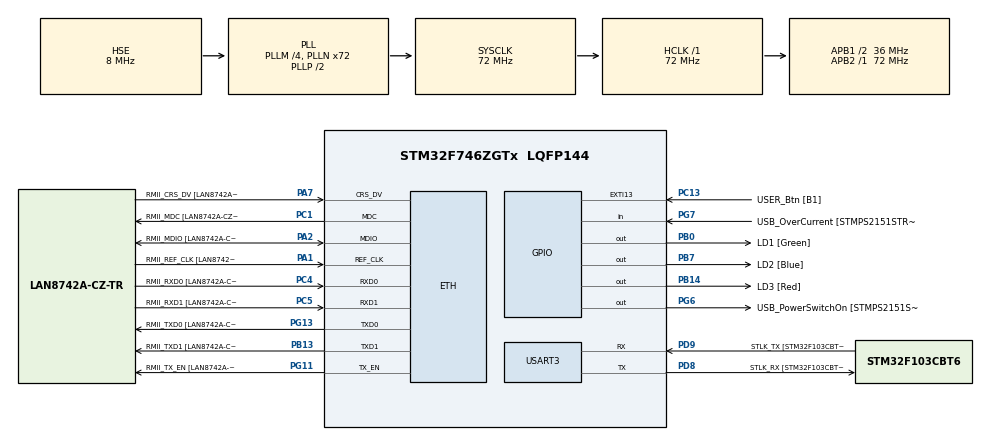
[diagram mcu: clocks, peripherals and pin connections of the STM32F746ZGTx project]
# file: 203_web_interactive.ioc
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ETH.MACAddr=00\:80\:E1\:00\:00\:00
ETH.MediaInterface=HAL_ETH_RMII_MODE
ETH.PHY_Name=LAN8742A_PHY_ADDRESS
ETH.PHY_Value=0
ETH.PhyAddress=0
FREERTOS.Tasks01=defaultTask,0,1024,StartDefaultTask,Default,NULL,Dynamic,NULL,NULL
FREERTOS.configUSE_NEWLIB_REENTRANT=1
LWIP.BSP.number=1
LWIP.GATEWAY_ADDRESS=010.042.000.001
LWIP.IP_ADDRESS=010.042.000.100
LWIP.LWIP_DHCP=1
LWIP.LWIP_HTTPD=1
LWIP.LWIP_HTTPD_CGI=1
LWIP.LWIP_HTTPD_SSI=1
LWIP.LWIP_HTTPD_SSI_INCLUDE_TAG=0
LWIP.LWIP_HTTPD_SSI_RAW=1
LWIP.NETMASK_ADDRESS=255.255.255.000
LWIP.Version=v2.1.2_Cube
LWIP0.BSP.STBoard=false
LWIP0.BSP.api=BSP_COMPONENT_DRIVER
LWIP0.BSP.component=LAN8742
LWIP0.BSP.instance=LAN8742
LWIP0.BSP.name=Driver_PHY
LWIP0.BSP.semaphore=S_LAN8742
LWIP0.BSP.solution=LAN8742
Mcu.Family=STM32F7
Mcu.Name=STM32F746ZGTx
Mcu.Package=LQFP144
NVIC.ETH_IRQn=true\:5\:0\:false\:false\:true\:true\:false\:true\:true
NVIC.PriorityGroup=NVIC_PRIORITYGROUP_4
NVIC.TIM2_IRQn=true\:15\:0\:false\:false\:true\:false\:false\:true\:true
NVIC.TimeBase=TIM2_IRQn
NVIC.TimeBaseIP=TIM2
PA1.GPIO_Label=RMII_REF_CLK [LAN8742A-CZ-TR_REFCLK0]
PA1.Mode=RMII
PA1.Signal=ETH_REF_CLK
PA10.GPIO_Label=USB_ID
PA10.Signal=USB_OTG_FS_ID
PA11.GPIO_Label=USB_DM
PA11.Signal=USB_OTG_FS_DM
PA12.GPIO_Label=USB_DP
PA12.Signal=USB_OTG_FS_DP
PA13.GPIO_Label=TMS
PA13.Mode=Serial_Wire
PA13.Signal=SYS_JTMS-SWDIO
PA14.GPIO_Label=TCK
PA14.Mode=Serial_Wire
PA14.Signal=SYS_JTCK-SWCLK
PA2.GPIO_Label=RMII_MDIO [LAN8742A-CZ-TR_MDIO]
PA2.Mode=RMII
PA2.Signal=ETH_MDIO
PA7.GPIO_Label=RMII_CRS_DV [LAN8742A-CZ-TR_CRS_DV]
PA7.Mode=RMII
PA7.Signal=ETH_CRS_DV
PA8.GPIO_Label=USB_SOF [TP1]
PA8.Signal=USB_OTG_FS_SOF
PA9.GPIO_Label=USB_VBUS
PA9.Signal=USB_OTG_FS_VBUS
PB0.GPIO_Label=LD1 [Green]
PB0.Signal=GPIO_Output
PB13.GPIO_Label=RMII_TXD1 [LAN8742A-CZ-TR_TXD1]
PB13.Mode=RMII
PB13.Signal=ETH_TXD1
PB14.GPIO_Label=LD3 [Red]
PB14.Signal=GPIO_Output
PB3.GPIO_Label=SW0
PB3.Signal=SYS_JTDO-SWO
PB7.GPIO_Label=LD2 [Blue]
PB7.Signal=GPIO_Output
PC1.GPIO_Label=RMII_MDC [LAN8742A-CZ-TR_MDC]
PC1.Mode=RMII
PC1.Signal=ETH_MDC
PC13.GPIO_Label=USER_Btn [B1]
PC13.Signal=GPXTI13
PC14/OSC32_IN.Mode=LSE-External-Oscillator
PC14/OSC32_IN.Signal=RCC_OSC32_IN
PC15/OSC32_OUT.Mode=LSE-External-Oscillator
PC15/OSC32_OUT.Signal=RCC_OSC32_OUT
PC4.GPIO_Label=RMII_RXD0 [LAN8742A-CZ-TR_RXD0]
PC4.Mode=RMII
PC4.Signal=ETH_RXD0
PC5.GPIO_Label=RMII_RXD1 [LAN8742A-CZ-TR_RXD1]
PC5.Mode=RMII
PC5.Signal=ETH_RXD1
PD8.GPIO_Label=STLK_RX [STM32F103CBT6_PA3]
PD8.GPIO_PuPd=GPIO_PULLUP
PD8.Mode=Asynchronous
PD8.Signal=USART3_TX
PD9.GPIO_Label=STLK_TX [STM32F103CBT6_PA2]
PD9.GPIO_PuPd=GPIO_PULLUP
PD9.Mode=Asynchronous
PD9.Signal=USART3_RX
PG11.GPIO_Label=RMII_TX_EN [LAN8742A-CZ-TR_TXEN]
PG11.Mode=RMII
PG11.Signal=ETH_TX_EN
PG13.GPIO_Label=RMII_TXD0 [LAN8742A-CZ-TR_TXD0]
PG13.Mode=RMII
PG13.Signal=ETH_TXD0
PG6.GPIO_Label=USB_PowerSwitchOn [STMPS2151STR_EN]
PG6.Signal=GPIO_Output
PG7.GPIO_Label=USB_OverCurrent [STMPS2151STR_FAULT]
PG7.Signal=GPIO_Input
PH0/OSC_IN.GPIO_Label=MCO [STM32F103CBT6_PA8]
PH0/OSC_IN.Mode=HSE-External-Clock-Source
PH0/OSC_IN.Signal=RCC_OSC_IN
PH1/OSC_OUT.Mode=HSE-External-Clock-Source
PH1/OSC_OUT.Signal=RCC_OSC_OUT
ProjectManager.HeapSize=0x200
ProjectManager.StackSize=0x400
ProjectManager.TargetToolchain=STM32CubeIDE
RCC.48MHZClocksFreq_Value=24000000
RCC.AHBFreq_Value=72000000
RCC.APB1CLKDivider=RCC_HCLK_DIV2
RCC.APB1Freq_Value=36000000
RCC.APB1TimFreq_Value=72000000
RCC.APB2Freq_Value=72000000
RCC.APB2TimFreq_Value=72000000
RCC.CortexFreq_Value=72000000
RCC.HCLKFreq_Value=72000000
RCC.HSE_VALUE=8000000
RCC.HSI_VALUE=16000000
RCC.PLLM=4
RCC.PLLMUL=RCC_PLL_MUL9
RCC.PLLN=72
RCC.PLLQ=3
RCC.PLLSourceVirtual=RCC_PLLSOURCE_HSE
RCC.PRESCALERUSB=RCC_USBCLKSOURCE_PLL_DIV1_5
RCC.SYSCLKFreq_VALUE=72000000
RCC.SYSCLKSource=RCC_SYSCLKSOURCE_PLLCLK
RCC.SYSCLKSourceVirtual=RCC_SYSCLKSOURCE_PLLCLK
RCC.USBFreq_Value=48000000
RCC.VCOOutputFreq_Value=144000000
USART3.VirtualMode-Asynchronous=VM_ASYNC
VP_FREERTOS_VS_CMSIS_V1.Mode=CMSIS_V1
VP_LWIP_VS_Enabled.Mode=Enabled
VP_SYS_VS_tim2.Mode=TIM2
board=NUCLEO-F746ZG

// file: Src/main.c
/* USER CODE BEGIN Header */
/**
  ******************************************************************************
  * @file           : main.c
  * @brief          : Main program body
  ******************************************************************************
  * @attention
  *
  * <h2><center>&copy; Copyright (c) 2020 STMicroelectronics.
  * All rights reserved.</center></h2>
  *
  * This software component is licensed by ST under Ultimate Liberty license
  * SLA0044, the "License"; You may not use this file except in compliance with
  * the License. You may obtain a copy of the License at:
  *                             www.st.com/SLA0044
  *
  ******************************************************************************
  */
/* USER CODE END Header */
#include "main.h"
#include "cmsis_os.h"
#include "lwip.h"

/* USER CODE BEGIN Includes */
#include "lwip/apps/httpd.h"
#include <string.h>

/* USER CODE END Includes */

UART_HandleTypeDef huart3;

osThreadId defaultTaskHandle;

void SystemClock_Config(void);
static void MX_GPIO_Init(void);
static void MX_USART3_UART_Init(void);
void StartDefaultTask(void const * argument);

/* USER CODE BEGIN 0 */

/*
 * Function pointer for the SSI tag handler callback.
 *
 * This function will be called each time the HTTPD server detects a tag of the
 * form <!--#name--> in a .shtml, .ssi or .shtm file where "name" appears as
 * one of the tags supplied to http_set_ssi_handler in the ppcTags array.  The
 * returned insert string, which will be appended after the the string
 * "<!--#name-->" in file sent back to the client,should be written to pointer
 * pcInsert.  iInsertLen contains the size of the buffer pointed to by
 * pcInsert.  The iIndex parameter provides the zero-based index of the tag as
 * found in the ppcTags array and identifies the tag that is to be processed.
 *
 * The handler returns the number of characters written to pcInsert excluding
 * any terminating NULL or a negative number to indicate a failure (tag not
 * recognized, for example).
 *
 */

const int custom_SSI_tag_num = 4;
const char* custom_SSI_tags[] = {"lred", "lgreen", "lblue", "buser"};

u16_t custom_SSI_handler(const char* ssi_tag_name, char *pcInsert, int iInsertLen)
{
  if ( iInsertLen < 10 ) {
      // if the buffer size is smaller than the longest response then indicate an error
      return(-1);
  }

  if (strcmp(ssi_tag_name, custom_SSI_tags[0])==0) {
      if (HAL_GPIO_ReadPin(GPIOB, GPIO_PIN_14)) {
          strcpy(pcInsert, "1");
      } else {
          strcpy(pcInsert, "0");
      }
      return(strlen(pcInsert));
  } else if (strcmp(ssi_tag_name, custom_SSI_tags[1])==0) {
      if (HAL_GPIO_ReadPin(GPIOB, GPIO_PIN_0)) {
          strcpy(pcInsert, "1");
      } else {
          strcpy(pcInsert, "0");
      }
      return(strlen(pcInsert));
  } else if (strcmp(ssi_tag_name, custom_SSI_tags[2])==0) {
      if (HAL_GPIO_ReadPin(GPIOB, GPIO_PIN_7)) {
          strcpy(pcInsert, "1");
      } else {
          strcpy(pcInsert, "0");
      }
      return(strlen(pcInsert));
  } else if (strcmp(ssi_tag_name, custom_SSI_tags[3])==0) {
      if (HAL_GPIO_ReadPin(GPIOC, GPIO_PIN_13)) {
          strcpy(pcInsert, "pressed");
      } else {
          strcpy(pcInsert, "released");
      }
      return(strlen(pcInsert));
  } else {
      // otherwise, return unrecognized tag error
    return(-1);
  }

}

/*
 * Function pointer for a CGI script handler.
 *
 * The function should return a pointer to a character string which is the
 * path and filename of the response that is to be sent to the connected
 * browser, for example "/thanks.htm" or "/response/error.ssi".
 *
 * Requests intended for use by this CGI mechanism must be sent using the GET
 * method (which encodes all parameters within the URI rather than in a block
 * later in the request). Attempts to use the POST method will result in the
 * request being ignored.
 *
 */

const char * setRED(int iIndex, int iNumParams, char *pcParam[], char *pcValue[])
{
    if (iNumParams==1) {
        if (atoi(pcValue[0])==1) {
            HAL_GPIO_WritePin(GPIOB, GPIO_PIN_14, GPIO_PIN_SET);
        } else {
            HAL_GPIO_WritePin(GPIOB, GPIO_PIN_14, GPIO_PIN_RESET);
        }
    }
    return("/index.shtml");
}

const char * setGRN(int iIndex, int iNumParams, char *pcParam[], char *pcValue[])
{
    if (iNumParams==1) {
        if (atoi(pcValue[0])==1) {
            HAL_GPIO_WritePin(GPIOB, GPIO_PIN_0, GPIO_PIN_SET);
        } else {
            HAL_GPIO_WritePin(GPIOB, GPIO_PIN_0, GPIO_PIN_RESET);
        }
    }
    return("/index.shtml");
}

const char * setBLU(int iIndex, int iNumParams, char *pcParam[], char *pcValue[])
{
    if (iNumParams==1) {
        if (atoi(pcValue[0])==1) {
            HAL_GPIO_WritePin(GPIOB, GPIO_PIN_7, GPIO_PIN_SET);
        } else {
            HAL_GPIO_WritePin(GPIOB, GPIO_PIN_7, GPIO_PIN_RESET);
        }
    }
    return("/index.shtml");
}

const char * setALL(int iIndex, int iNumParams, char *pcParam[], char *pcValue[])
{
    // Warning: use atoi_r instead of atoi in case you also use this function inside a RTOS task
    for (int i=0; i<iNumParams; i++) {
        if (strcmp(pcParam[i],"red")==0) {
            if (atoi(pcValue[i])==1) {
                HAL_GPIO_WritePin(GPIOB, GPIO_PIN_14, GPIO_PIN_SET);
            } else {
                HAL_GPIO_WritePin(GPIOB, GPIO_PIN_14, GPIO_PIN_RESET);
            }
        } else if (strcmp(pcParam[i],"green")==0) {
            if (atoi(pcValue[i])==1) {
                HAL_GPIO_WritePin(GPIOB, GPIO_PIN_0, GPIO_PIN_SET);
            } else {
                HAL_GPIO_WritePin(GPIOB, GPIO_PIN_0, GPIO_PIN_RESET);
            }
        } else if (strcmp(pcParam[i],"blue")==0) {
            if (atoi(pcValue[i])==1) {
                HAL_GPIO_WritePin(GPIOB, GPIO_PIN_7, GPIO_PIN_SET);
            } else {
                HAL_GPIO_WritePin(GPIOB, GPIO_PIN_7, GPIO_PIN_RESET);
            }
        } // else invalid parameters are simply ignored in this example
    }
    // we return the status page as confirmation in this example
    return("/index.shtml");
}

#define custon_CGI_handler_num 4
const tCGI custom_CGI_handlers[custon_CGI_handler_num] = {
    //  file name   function called
    {"/setall.cgi",   setALL},
    {"/setred.cgi",   setRED},
    {"/setgreen.cgi", setGRN},
    {"/setblue.cgi",  setBLU}
};

/* USER CODE END 0 */

int main(void)
{

  /* MCU Configuration--------------------------------------------------------*/

  /* Reset of all peripherals, Initializes the Flash interface and the Systick. */
  HAL_Init();

  /* Configure the system clock */
  SystemClock_Config();

  /* Initialize all configured peripherals */
  MX_GPIO_Init();
  MX_USART3_UART_Init();
  /* USER CODE BEGIN 2 */
  MX_LWIP_Init();
  //set up the web server
  http_set_ssi_handler(custom_SSI_handler, custom_SSI_tags, custom_SSI_tag_num);
  http_set_cgi_handlers(custom_CGI_handlers, custon_CGI_handler_num);
  //start the web server after MX_LWIP_Init() is called
  httpd_init();

  /* USER CODE END 2 */

  /* Create the thread(s) */
  /* definition and creation of defaultTask */
  osThreadDef(defaultTask, StartDefaultTask, osPriorityNormal, 0, 128);
  defaultTaskHandle = osThreadCreate(osThread(defaultTask), NULL);

  /* Start scheduler */
  osKernelStart();

  /* We should never get here as control is now taken by the scheduler */
  /* Infinite loop */
  while (1)
  {

  }
}

void SystemClock_Config(void)
{
  RCC_OscInitTypeDef RCC_OscInitStruct = {0};
  RCC_ClkInitTypeDef RCC_ClkInitStruct = {0};

  /** Configure LSE Drive Capability
  */
  HAL_PWR_EnableBkUpAccess();
  /** Configure the main internal regulator output voltage
  */
  __HAL_RCC_PWR_CLK_ENABLE();
  __HAL_PWR_VOLTAGESCALING_CONFIG(PWR_REGULATOR_VOLTAGE_SCALE3);
  /** Initializes the RCC Oscillators according to the specified parameters
  * in the RCC_OscInitTypeDef structure.
  */
  RCC_OscInitStruct.OscillatorType = RCC_OSCILLATORTYPE_HSE;
  RCC_OscInitStruct.HSEState = RCC_HSE_BYPASS;
  RCC_OscInitStruct.PLL.PLLState = RCC_PLL_ON;
  RCC_OscInitStruct.PLL.PLLSource = RCC_PLLSOURCE_HSE;
  RCC_OscInitStruct.PLL.PLLM = 4;
  RCC_OscInitStruct.PLL.PLLN = 72;
  RCC_OscInitStruct.PLL.PLLP = RCC_PLLP_DIV2;
  RCC_OscInitStruct.PLL.PLLQ = 3;
  if (HAL_RCC_OscConfig(&RCC_OscInitStruct) != HAL_OK)
  {
    Error_Handler();
  }
  /** Initializes the CPU, AHB and APB buses clocks
  */
  RCC_ClkInitStruct.ClockType = RCC_CLOCKTYPE_HCLK|RCC_CLOCKTYPE_SYSCLK
                              |RCC_CLOCKTYPE_PCLK1|RCC_CLOCKTYPE_PCLK2;
  RCC_ClkInitStruct.SYSCLKSource = RCC_SYSCLKSOURCE_PLLCLK;
  RCC_ClkInitStruct.AHBCLKDivider = RCC_SYSCLK_DIV1;
  RCC_ClkInitStruct.APB1CLKDivider = RCC_HCLK_DIV2;
  RCC_ClkInitStruct.APB2CLKDivider = RCC_HCLK_DIV1;

  if (HAL_RCC_ClockConfig(&RCC_ClkInitStruct, FLASH_LATENCY_2) != HAL_OK)
  {
    Error_Handler();
  }
}

static void MX_USART3_UART_Init(void)
{

  huart3.Instance = USART3;
  huart3.Init.BaudRate = 115200;
  huart3.Init.WordLength = UART_WORDLENGTH_8B;
  huart3.Init.StopBits = UART_STOPBITS_1;
  huart3.Init.Parity = UART_PARITY_NONE;
  huart3.Init.Mode = UART_MODE_TX_RX;
  huart3.Init.HwFlowCtl = UART_HWCONTROL_NONE;
  huart3.Init.OverSampling = UART_OVERSAMPLING_16;
  huart3.Init.OneBitSampling = UART_ONE_BIT_SAMPLE_DISABLE;
  huart3.AdvancedInit.AdvFeatureInit = UART_ADVFEATURE_NO_INIT;
  if (HAL_UART_Init(&huart3) != HAL_OK)
  {
    Error_Handler();
  }

}

static void MX_GPIO_Init(void)
{
  GPIO_InitTypeDef GPIO_InitStruct = {0};

  /* GPIO Ports Clock Enable */
  __HAL_RCC_GPIOC_CLK_ENABLE();
  __HAL_RCC_GPIOH_CLK_ENABLE();
  __HAL_RCC_GPIOA_CLK_ENABLE();
  __HAL_RCC_GPIOB_CLK_ENABLE();
  __HAL_RCC_GPIOD_CLK_ENABLE();
  __HAL_RCC_GPIOG_CLK_ENABLE();

  /*Configure GPIO pin Output Level */
  HAL_GPIO_WritePin(GPIOB, LD1_Pin|LD3_Pin|LD2_Pin, GPIO_PIN_RESET);

  /*Configure GPIO pin Output Level */
  HAL_GPIO_WritePin(USB_PowerSwitchOn_GPIO_Port, USB_PowerSwitchOn_Pin, GPIO_PIN_RESET);

  /*Configure GPIO pin : USER_Btn_Pin */
  GPIO_InitStruct.Pin = USER_Btn_Pin;
  GPIO_InitStruct.Mode = GPIO_MODE_IT_RISING;
  GPIO_InitStruct.Pull = GPIO_NOPULL;
  HAL_GPIO_Init(USER_Btn_GPIO_Port, &GPIO_InitStruct);

  /*Configure GPIO pins : LD1_Pin LD3_Pin LD2_Pin */
  GPIO_InitStruct.Pin = LD1_Pin|LD3_Pin|LD2_Pin;
  GPIO_InitStruct.Mode = GPIO_MODE_OUTPUT_PP;
  GPIO_InitStruct.Pull = GPIO_NOPULL;
  GPIO_InitStruct.Speed = GPIO_SPEED_FREQ_LOW;
  HAL_GPIO_Init(GPIOB, &GPIO_InitStruct);

  /*Configure GPIO pin : USB_PowerSwitchOn_Pin */
  GPIO_InitStruct.Pin = USB_PowerSwitchOn_Pin;
  GPIO_InitStruct.Mode = GPIO_MODE_OUTPUT_PP;
  GPIO_InitStruct.Pull = GPIO_NOPULL;
  GPIO_InitStruct.Speed = GPIO_SPEED_FREQ_LOW;
  HAL_GPIO_Init(USB_PowerSwitchOn_GPIO_Port, &GPIO_InitStruct);

  /*Configure GPIO pin : USB_OverCurrent_Pin */
  GPIO_InitStruct.Pin = USB_OverCurrent_Pin;
  GPIO_InitStruct.Mode = GPIO_MODE_INPUT;
  GPIO_InitStruct.Pull = GPIO_NOPULL;
  HAL_GPIO_Init(USB_OverCurrent_GPIO_Port, &GPIO_InitStruct);

  /*Configure GPIO pins : USB_SOF_Pin USB_ID_Pin USB_DM_Pin USB_DP_Pin */
  GPIO_InitStruct.Pin = USB_SOF_Pin|USB_ID_Pin|USB_DM_Pin|USB_DP_Pin;
  GPIO_InitStruct.Mode = GPIO_MODE_AF_PP;
  GPIO_InitStruct.Pull = GPIO_NOPULL;
  GPIO_InitStruct.Speed = GPIO_SPEED_FREQ_VERY_HIGH;
  GPIO_InitStruct.Alternate = GPIO_AF10_OTG_FS;
  HAL_GPIO_Init(GPIOA, &GPIO_InitStruct);

  /*Configure GPIO pin : USB_VBUS_Pin */
  GPIO_InitStruct.Pin = USB_VBUS_Pin;
  GPIO_InitStruct.Mode = GPIO_MODE_INPUT;
  GPIO_InitStruct.Pull = GPIO_NOPULL;
  HAL_GPIO_Init(USB_VBUS_GPIO_Port, &GPIO_InitStruct);

}

void StartDefaultTask(void const * argument)
{
  /* init code for LWIP */
  // MX_LWIP_Init(); -- moved back to the main function
  for(;;)
  {
    osDelay(1);
  }
}

void HAL_TIM_PeriodElapsedCallback(TIM_HandleTypeDef *htim)
{
  if (htim->Instance == TIM2) {
    HAL_IncTick();
  }
}

void Error_Handler(void)
{
}
